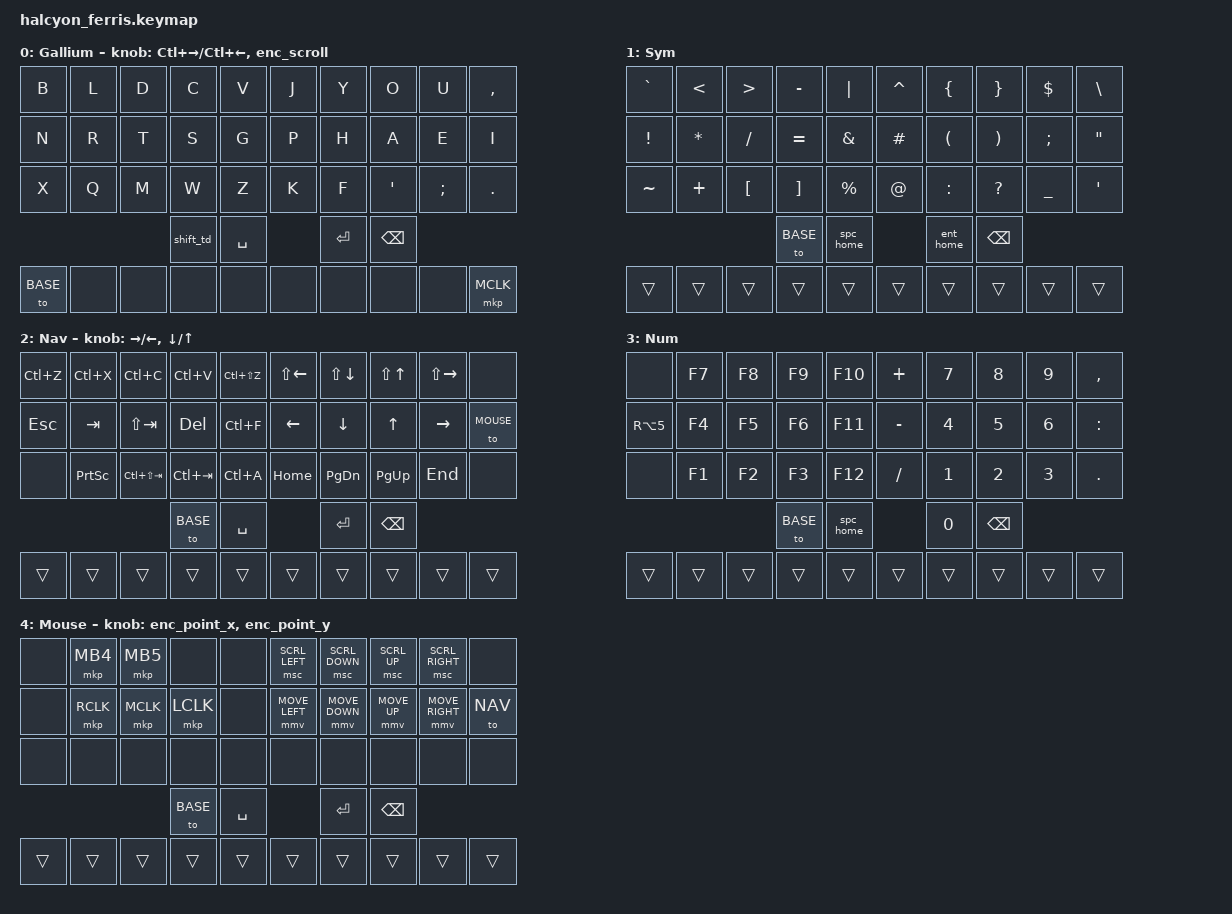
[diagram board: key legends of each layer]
/*
 * Halcyon Ferris — Gallium (columnar staggered)
 * https://github.com/GalileoBlues/Gallium
 *
 * Stage 3: tap-based ("no holds") skeleton.
 *   - Layers are switched with taps (&to) and stay until you leave.
 *   - Left outer thumb always returns to base (on base it is sticky shift).
 *   - Modifiers are sticky (tap, then the key) via vertical combos.
 *
 * SPDX-License-Identifier: MIT
 */

#include <behaviors.dtsi>
#include <dt-bindings/zmk/keys.h>
#include <dt-bindings/zmk/pointing.h>
#include <zephyr/dt-bindings/input/input-event-codes.h>

#define BASE  0
#define SYM   1
#define NAV   2
#define NUM   3
#define MOUSE 4

// Key positions
//  0  1  2  3  4     5  6  7  8  9
// 10 11 12 13 14    15 16 17 18 19
// 20 21 22 23 24    25 26 27 28 29
//          30 31    32 33
// 34..43: Halcyon module row (34 = left encoder press, 43 = right)

// Sticky keys: apply to the next key press only, then release.
&sk {
    release-after-ms = <1000>;
    quick-release;
};

/ {
    behaviors {
        // Tap = sticky shift, double tap = caps word.
        shift_td: shift_tap_dance {
            compatible = "zmk,behavior-tap-dance";
            #binding-cells = <0>;
            tapping-term-ms = <200>;
            bindings = <&sk LSHFT>, <&caps_word>;
        };

        // Space that also returns to base (symbol runs usually end in a space).
        spc_home: space_then_base {
            compatible = "zmk,behavior-macro";
            #binding-cells = <0>;
            bindings = <&kp SPACE &to BASE>;
        };

        // Enter that also returns to base.
        ent_home: enter_then_base {
            compatible = "zmk,behavior-macro";
            #binding-cells = <0>;
            bindings = <&kp RET &to BASE>;
        };

        // ── Encoders: "etch-a-sketch" — left knob horizontal, right knob vertical.
        // Clockwise = right / down. Each detent is a short tap of the action.

        // Scroll wheel: one notch per detent. &msc reports every 16 ms (first report
        // 16 ms after press) and drops fractions on release. The stock SCRL_* speed
        // (10/s) gives 0.16 notch per report, so a short tap scrolls nothing.
        // At 80/s one report = 1.28 → 1 notch; a 24 ms tap fits exactly one report.
        enc_scroll: encoder_scroll {
            compatible = "zmk,behavior-sensor-rotate";
            #sensor-binding-cells = <0>;
            bindings = <&msc MOVE_Y(-80)>, <&msc MOVE_Y(80)>;
            tap-ms = <24>;
        };

        // Pointer mover with no acceleration, so every detent moves the same distance
        // (the stock &mmv ramps up over 300 ms, which would make knob steps tiny).
        enc_mmv: encoder_mouse_move {
            compatible = "zmk,behavior-input-two-axis";
            #binding-cells = <1>;
            x-input-code = <INPUT_REL_X>;
            y-input-code = <INPUT_REL_Y>;
            time-to-max-speed-ms = <0>;
            acceleration-exponent = <0>;
        };
        enc_point_x: encoder_pointer_x {
            compatible = "zmk,behavior-sensor-rotate";
            #sensor-binding-cells = <0>;
            bindings = <&enc_mmv MOVE_RIGHT>, <&enc_mmv MOVE_LEFT>;
            tap-ms = <30>;
        };
        enc_point_y: encoder_pointer_y {
            compatible = "zmk,behavior-sensor-rotate";
            #sensor-binding-cells = <0>;
            bindings = <&enc_mmv MOVE_DOWN>, <&enc_mmv MOVE_UP>;
            tap-ms = <30>;
        };
    };

    // Fix for the splitkb Halcyon Ferris shield: it puts the Halcyon module keys
    // (knob presses) at row-offset 3, which collides with the thumb row, so the left
    // knob press sent Space (pos 31) and the right one Enter (pos 32). The module row
    // is row 4 in halcyon_transform. Overridden by path so the dongle, which has no
    // kscan_composite, just gets an inert node without a compatible.
    kscan_composite {
        halcyon {
            row-offset = <4>;
        };
    };

    enc_mmv_listener: encoder_mouse_move_listener {
        compatible = "zmk,input-listener";
        device = <&enc_mmv>;
    };

    combos {
        compatible = "zmk,combos";

        // Esc: both inner thumbs together (Space + Enter).
        // Not on NUM: there the right thumb is 0, and "0 " rolls would misfire.
        combo_esc {
            key-positions = <31 32>;
            bindings = <&kp ESC>;
            timeout-ms = <40>;
            layers = <BASE SYM NAV MOUSE>;
        };

        // Layer chords, all layers. Same-hand thumb pairs: left (Shift + Space) = NUM,
        // right (Enter + Backspace) = SYM — one thumb on two keys, so no rolls.
        // Both outer thumbs (Shift + Backspace) = NAV.
        combo_to_num {
            key-positions = <30 31>;
            bindings = <&to NUM>;
            timeout-ms = <40>;
        };
        combo_to_sym {
            key-positions = <32 33>;
            bindings = <&to SYM>;
            timeout-ms = <40>;
        };
        combo_to_nav {
            key-positions = <30 33>;
            bindings = <&to NAV>;
            timeout-ms = <40>;
        };

        // Tab: left pinky upper pair (B + N), BASE only.
        // No prior-idle: Tab is often hit straight after typing (shell completion).
        // B and N are the same finger, so they can't overlap in a roll anyway.
        combo_tab {
            key-positions = <0 10>;
            bindings = <&kp TAB>;
            timeout-ms = <40>;
            layers = <BASE>;
        };

        // Sticky mods: home-row key + the key directly below (same finger).
        // Left:  ring R+Q = GUI, middle T+M = Alt, index S+W = Ctrl
        // Right: index H+F = Ctrl, middle A+' = Alt, ring E+; = GUI
        combo_gui_l {
            key-positions = <11 21>;
            bindings = <&sk LGUI>;
            timeout-ms = <40>;
        };
        combo_alt_l {
            key-positions = <12 22>;
            bindings = <&sk LALT>;
            timeout-ms = <40>;
        };
        combo_ctl_l {
            key-positions = <13 23>;
            bindings = <&sk LCTRL>;
            timeout-ms = <40>;
        };
        combo_ctl_r {
            key-positions = <16 26>;
            bindings = <&sk RCTRL>;
            timeout-ms = <40>;
        };
        combo_alt_r {
            key-positions = <17 27>;
            bindings = <&sk LALT>;   // left Alt: keep right Alt free for AltGr
            timeout-ms = <40>;
        };
        combo_gui_r {
            key-positions = <18 28>;
            bindings = <&sk RGUI>;
            timeout-ms = <40>;
        };

        // Swedish: top-row key + home-row key below (same finger).
        // Sends AltGr+key; needs host layout us(altgr-intl).
        // Y+H = ä (AltGr+Q), O+A = å (AltGr+W), U+E = ö (AltGr+P)
        combo_a_umlaut {
            key-positions = <6 16>;
            bindings = <&kp RA(Q)>;
            timeout-ms = <40>;
            require-prior-idle-ms = <150>;
            layers = <BASE>;
        };
        combo_a_ring {
            key-positions = <7 17>;
            bindings = <&kp RA(W)>;
            timeout-ms = <40>;
            require-prior-idle-ms = <150>;
            layers = <BASE>;
        };
        combo_o_umlaut {
            key-positions = <8 18>;
            bindings = <&kp RA(P)>;
            timeout-ms = <40>;
            require-prior-idle-ms = <150>;
            layers = <BASE>;
        };

        // Most-used off-base symbols (measured from own code/shell/prompts):
        // top-row key + home-row key below, left hand.
        // C+S = -  (22%), D+T = /  (15%), L+R = _  (7%)
        combo_minus {
            key-positions = <3 13>;
            bindings = <&kp MINUS>;
            timeout-ms = <40>;
            require-prior-idle-ms = <150>;
            layers = <BASE>;
        };
        combo_slash {
            key-positions = <2 12>;
            bindings = <&kp FSLH>;
            timeout-ms = <40>;
            require-prior-idle-ms = <150>;
            layers = <BASE>;
        };
        combo_under {
            key-positions = <1 11>;
            bindings = <&kp UNDER>;
            timeout-ms = <40>;
            require-prior-idle-ms = <150>;
            layers = <BASE>;
        };

        // Parens (6% each): inner index columns, open on the left, close on the right.
        // V+G = (   J+P = )
        combo_lpar {
            key-positions = <4 14>;
            bindings = <&kp LPAR>;
            timeout-ms = <40>;
            require-prior-idle-ms = <150>;
            layers = <BASE>;
        };
        combo_rpar {
            key-positions = <5 15>;
            bindings = <&kp RPAR>;
            timeout-ms = <40>;
            require-prior-idle-ms = <150>;
            layers = <BASE>;
        };
    };

    keymap {
        compatible = "zmk,keymap";

        base {
            display-name = "Gallium";
// ┌─────┬─────┬─────┬─────┬─────┐   ┌─────┬─────┬─────┬─────┬─────┐
// │  B  │  L  │  D  │  C  │  V  │   │  J  │  Y  │  O  │  U  │  ,  │
// │ Tab │  _  │  /  │  -  │  (  │   │  )  │  ä  │  å  │  ö  │     │
// │  N  │  R  │  T  │  S  │  G  │   │  P  │  H  │  A  │  E  │  I  │
// │     │ gui │ alt │ ctl │     │   │     │ ctl │ alt │ gui │     │
// │  X  │  Q  │  M  │  W  │  Z  │   │  K  │  F  │  '  │  ;  │  .  │
// └─────┴─────┴─────┼─────┼─────┤   ├─────┼─────┼─────┴─────┴─────┘
//                   │ ⇧1× │ Spc │   │ Ent │  ⌫  │
//                   └─────┴─────┘   └─────┴─────┘
//                      └─NUM─┘         └─SYM─┘    thumb pairs → layer (all layers)
//                           └── Esc ──┘          Spc+Ent (not on NUM)
//                   └──────── NAV ────────┘      both outer thumbs (all layers)
            bindings = <
&kp B  &kp L  &kp D  &kp C  &kp V      &kp J  &kp Y  &kp O    &kp U    &kp COMMA
&kp N  &kp R  &kp T  &kp S  &kp G      &kp P  &kp H  &kp A    &kp E    &kp I
&kp X  &kp Q  &kp M  &kp W  &kp Z      &kp K  &kp F  &kp SQT  &kp SEMI &kp DOT
                     &shift_td &kp SPACE   &kp RET &kp BSPC

// Module row: 34 = left knob press (→BASE), 43 = right knob press (middle click).
// Other layers are &trans here, so the presses work the same everywhere.
&to BASE &none &none &none &none        &none &none &none &none &mkp MCLK
            >;
            // Knobs: left = word ← →, right = scroll ↑ ↓. Layers without their own
            // sensor-bindings (SYM, NUM) use these.
            sensor-bindings = <&inc_dec_kp LC(RIGHT) LC(LEFT) &enc_scroll>;
        };

        sym {
            display-name = "Sym";
// Pascal Getreuer's symbol layer (with ? and _ in place of , and .)
// ┌─────┬─────┬─────┬─────┬─────┐   ┌─────┬─────┬─────┬─────┬─────┐
// │  `  │  <  │  >  │  -  │  |  │   │  ^  │  {  │  }  │  $  │  \  │
// ├─────┼─────┼─────┼─────┼─────┤   ├─────┼─────┼─────┼─────┼─────┤
// │  !  │  *  │  /  │  =  │  &  │   │  #  │  (  │  )  │  ;  │  "  │
// ├─────┼─────┼─────┼─────┼─────┤   ├─────┼─────┼─────┼─────┼─────┤
// │  ~  │  +  │  [  │  ]  │  %  │   │  @  │  :  │  ?  │  _  │  '  │
// └─────┴─────┴─────┼─────┼─────┤   ├─────┼─────┼─────┴─────┴─────┘
//                   │→BASE│Spc→B│   │Ent→B│  ⌫  │
            bindings = <
&kp GRAVE &kp LT   &kp GT   &kp MINUS &kp PIPE     &kp CARET &kp LBRC  &kp RBRC  &kp DLLR  &kp BSLH
&kp EXCL  &kp STAR &kp FSLH &kp EQUAL &kp AMPS     &kp HASH  &kp LPAR  &kp RPAR  &kp SEMI  &kp DQT
&kp TILDE &kp PLUS &kp LBKT &kp RBKT  &kp PRCNT    &kp AT    &kp COLON &kp QMARK &kp UNDER &kp SQT
                     &to BASE &spc_home    &ent_home &kp BSPC

&trans &trans &trans &trans &trans     &trans &trans &trans &trans &trans
            >;
        };

        nav {
            display-name = "Nav";
// Arrows sit where the Planck/Workman vim keys (y n e o) were.
// ┌─────┬─────┬─────┬─────┬─────┐   ┌─────┬─────┬─────┬─────┬─────┐
// │Undo │ Cut │Copy │Paste│Redo │   │ ⇧←  │ ⇧↓  │ ⇧↑  │ ⇧→  │     │  select
// ├─────┼─────┼─────┼─────┼─────┤   ├─────┼─────┼─────┼─────┼─────┤
// │ Esc │ Tab │ ⇧Tab│ Del │ ⌃F  │   │  ←  │  ↓  │  ↑  │  →  │Mouse│  move
// ├─────┼─────┼─────┼─────┼─────┤   ├─────┼─────┼─────┼─────┼─────┤
// │     │PrtSc│PrvTb│NxtTb│ ⌃A  │   │Home │PgDn │PgUp │ End │     │  jump
// └─────┴─────┴─────┼─────┼─────┤   ├─────┼─────┼─────┴─────┴─────┘
//                   │→BASE│ Spc │   │ Ent │  ⌫  │
            bindings = <
&kp LC(Z) &kp LC(X) &kp LC(C)       &kp LC(V)   &kp LC(LS(Z))    &kp LS(LEFT) &kp LS(DOWN) &kp LS(UP) &kp LS(RIGHT) &none
&kp ESC   &kp TAB   &kp LS(TAB)     &kp DEL     &kp LC(F)        &kp LEFT     &kp DOWN     &kp UP     &kp RIGHT     &to MOUSE
&none     &kp PSCRN &kp LC(LS(TAB)) &kp LC(TAB) &kp LC(A)        &kp HOME     &kp PG_DN    &kp PG_UP  &kp END       &none
                     &to BASE &kp SPACE    &kp RET &kp BSPC

&trans &trans &trans &trans &trans     &trans &trans &trans &trans &trans
            >;
            // Knobs: left = character ← →, right = line ↑ ↓.
            sensor-bindings = <&inc_dec_kp RIGHT LEFT &inc_dec_kp DOWN UP>;
        };

        num {
            display-name = "Num";
// Right: numpad, 0 on the thumb. Outer columns hold what is typed next to
// numbers (measured: space . - , : /). , and . stay where they are on base.
// Left: F-keys in the same numpad shape.
// € is AltGr+5 (host layout us(altgr-intl)).
// ┌─────┬─────┬─────┬─────┬─────┐   ┌─────┬─────┬─────┬─────┬─────┐
// │     │ F7  │ F8  │ F9  │ F10 │   │  +  │  7  │  8  │  9  │  ,  │
// ├─────┼─────┼─────┼─────┼─────┤   ├─────┼─────┼─────┼─────┼─────┤
// │  €  │ F4  │ F5  │ F6  │ F11 │   │  -  │  4  │  5  │  6  │  :  │
// ├─────┼─────┼─────┼─────┼─────┤   ├─────┼─────┼─────┼─────┼─────┤
// │     │ F1  │ F2  │ F3  │ F12 │   │  /  │  1  │  2  │  3  │  .  │
// └─────┴─────┴─────┼─────┼─────┤   ├─────┼─────┼─────┴─────┴─────┘
//                   │→BASE│Spc→B│   │  0  │  ⌫  │
            bindings = <
&none          &kp F7 &kp F8 &kp F9 &kp F10    &kp PLUS  &kp N7 &kp N8 &kp N9 &kp COMMA
&kp RA(N5)     &kp F4 &kp F5 &kp F6 &kp F11   &kp MINUS &kp N4 &kp N5 &kp N6 &kp COLON
&none          &kp F1 &kp F2 &kp F3 &kp F12    &kp FSLH  &kp N1 &kp N2 &kp N3 &kp DOT
                     &to BASE &spc_home    &kp N0 &kp BSPC

&trans &trans &trans &trans &trans     &trans &trans &trans &trans &trans
            >;
        };

        mouse {
            display-name = "Mouse";
// NAV's twin: same right-hand shape, but the pointer instead of the cursor.
// Clicks on the left home row so you can hold one and move (drag).
// ┌─────┬─────┬─────┬─────┬─────┐   ┌─────┬─────┬─────┬─────┬─────┐
// │     │Back │ Fwd │     │     │   │ ⇠   │ ⇣   │ ⇡   │ ⇢   │     │  scroll
// ├─────┼─────┼─────┼─────┼─────┤   ├─────┼─────┼─────┼─────┼─────┤
// │     │RClk │MClk │LClk │     │   │  ←  │  ↓  │  ↑  │  →  │ Nav │  pointer
// ├─────┼─────┼─────┼─────┼─────┤   ├─────┼─────┼─────┼─────┼─────┤
// │     │     │     │     │     │   │     │     │     │     │     │
// └─────┴─────┴─────┼─────┼─────┤   ├─────┼─────┼─────┴─────┴─────┘
//                   │→BASE│ Spc │   │ Ent │  ⌫  │
            bindings = <
&none &mkp MB4  &mkp MB5  &none     &none      &msc SCRL_LEFT &msc SCRL_DOWN &msc SCRL_UP &msc SCRL_RIGHT &none
&none &mkp RCLK &mkp MCLK &mkp LCLK &none      &mmv MOVE_LEFT &mmv MOVE_DOWN &mmv MOVE_UP &mmv MOVE_RIGHT &to NAV
&none &none     &none     &none     &none      &none          &none          &none        &none           &none
                     &to BASE &kp SPACE    &kp RET &kp BSPC

&trans &trans &trans &trans &trans     &trans &trans &trans &trans &trans
            >;
            // Knobs: left = pointer ← →, right = pointer ↑ ↓ (fixed step per detent).
            sensor-bindings = <&enc_point_x &enc_point_y>;
        };
    };
};
